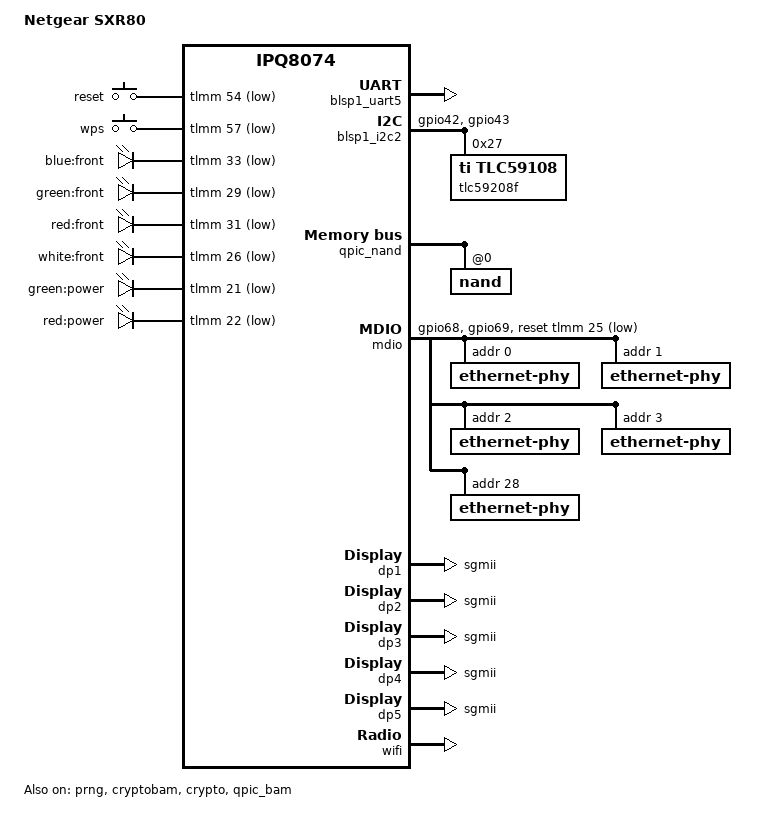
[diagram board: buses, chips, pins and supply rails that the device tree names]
// SPDX-License-Identifier: GPL-2.0-or-later OR MIT

/dts-v1/;

#include "ipq8074.dtsi"
#include "ipq8074-ac-cpu.dtsi"
#include <dt-bindings/gpio/gpio.h>
#include <dt-bindings/input/input.h>

/ {
	#address-cells = <2>;
	#size-cells = <2>;

	model = "Netgear SXR80";
	compatible = "netgear,sxr80", "qcom,ipq8074";
	interrupt-parent = <&intc>;

	aliases {
		serial0 = &blsp1_uart5;
		led-boot = &led_front_blue;
		led-failsafe = &led_front_red;
		led-running = &led_front_green;
		led-upgrade = &led_front_white;
		/* Aliases as required by u-boot to patch MAC addresses */
		ethernet0 = "/soc/dp1";
		ethernet1 = "/soc/dp2";
		ethernet2 = "/soc/dp3";
		ethernet3 = "/soc/dp4";
		ethernet6 = "/soc/dp5";
	};

	chosen {
		stdout-path = "serial0:115200n8";
		bootargs-append = " root=/dev/ubiblock0_1";
	};

	keys {
		compatible = "gpio-keys";

		reset {
			label = "reset";
			gpios = <&tlmm 54 GPIO_ACTIVE_LOW>;
			linux,code = <KEY_RESTART>;
		};

		wps {
			label = "wps";
			gpios = <&tlmm 57 GPIO_ACTIVE_LOW>;
			linux,code = <KEY_WPS_BUTTON>;
		};
	};

	leds {
		compatible = "gpio-leds";

		led_front_blue: front-blue {
			label = "blue:front";
			gpios = <&tlmm 33 GPIO_ACTIVE_LOW>;
		};

		led_front_green: front-green {
			label = "green:front";
			gpios = <&tlmm 29 GPIO_ACTIVE_LOW>;
		};

		led_front_red: front-red {
			label = "red:front";
			gpios = <&tlmm 31 GPIO_ACTIVE_LOW>;
		};

		led_front_white: front-white {
			label = "white:front";
			gpios = <&tlmm 26 GPIO_ACTIVE_LOW>;
		};

		led_power_green: power-green {
			label = "green:power";
			gpios = <&tlmm 21 GPIO_ACTIVE_LOW>;
			default-state = "on";
		};

		led_power_red: power-red {
			label = "red:power";
			gpios = <&tlmm 22 GPIO_ACTIVE_LOW>;
			panic-indicator;
		};

	};
};

&tlmm {
	mdio_pins: mdio-pins {
		mdc {
			pins = "gpio68";
			function = "mdc";
			drive-strength = <8>;
			bias-pull-up;
		};

		mdio {
			pins = "gpio69";
			function = "mdio";
			drive-strength = <8>;
			bias-pull-up;
		};
	};

	i2c_0_pins: i2c-0-pinmux {
		mux {
			pins = "gpio42", "gpio43";
			function = "blsp1_i2c";
			drive-strength = <8>;
			bias-disable;
		};
	};

	leds_pins: leds_pinmux {
		led_power_green {
			pins = "gpio21";
			function = "gpio";
			drive-strength = <8>;
			bias-pull-down;
		};
		led_power_red {
			pins = "gpio22";
			function = "gpio";
			drive-strength = <8>;
			bias-pull-down;
		};
		led_white {
			pins = "gpio26";
			function = "gpio";
			drive-strength = <8>;
			bias-pull-down;
		};
		led_green {
			pins = "gpio29";
			function = "gpio";
			drive-strength = <8>;
			bias-pull-down;
		};
		led_red {
			pins = "gpio31";
			function = "gpio";
			drive-strength = <8>;
			bias-pull-down;
		};
		led_blue {
			pins = "gpio33";
			function = "gpio";
			drive-strength = <8>;
			bias-pull-down;
		};
	};


};

&blsp1_uart5 {
	status = "okay";
};

&blsp1_i2c2 {
	pinctrl-0 = <&i2c_0_pins>;
	pinctrl-names = "default";

	status = "okay";
	
	tlc59208f@27 {
		#address-cells = <1>;
		#size-cells = <0>;
		compatible = "ti,tlc59108";
		reg = <0x27>;
		
		led0@0 {
			label = "orbi:led0:rgb";
			reg = <0x0>;
			linux,default_trigger = "default-on";
		};
		led1@1 {
			label = "orbi:led1:rgb";
			reg = <0x1>;
			linux,default_trigger = "default-on";
		};
		led2@2 {
			label = "orbi:led2:rgb";
			reg = <0x2>;
			linux,default_trigger = "default-on";
		};
		led3@3 {
			label = "orbi:led3:rgb";
			reg = <0x3>;
			linux,default_trigger = "default-on";

		};
	};
};

&prng {
	status = "okay";
};

&cryptobam {
	status = "okay";
};

&crypto {
	status = "okay";
};

&qpic_bam {
	status = "okay";
};

&qpic_nand {
	status = "okay";

	nand@0 {
		reg = <0>;
		nand-ecc-strength = <4>;
		nand-ecc-step-size = <512>;
		nand-bus-width = <8>;

		partitions {
			compatible = "qcom,smem-part";
		};
	};
};

&mdio {
	status = "okay";

	pinctrl-0 = <&mdio_pins>;
	pinctrl-names = "default";

	reset-gpios = <&tlmm 25 1>;

	ethernet-phy@0 {
		reg = <0>;
// Disabled to resolve multiple configured reset lines causing issues
//		reset-gpios = <&tlmm 37 0>;
	};

	ethernet-phy@1 {
		reg = <1>;
	};

	ethernet-phy@2 {
		reg = <2>;
	};

	ethernet-phy@3 {
		reg = <3>;
	};

	ethernet-phy@4 {
		reg = <28>;
// Disabled to resolve multiple configured reset lines causing issues
//		reset-gpios = <&tlmm 25 1>;
	};

};

&ess_switch {
	switch_cpu_bmp = <0x1>;  /* cpu port bitmap */
	switch_lan_bmp = <0x3e>; /* lan port bitmap */
	switch_wan_bmp = <0x40>; /* wan port bitmap */
	switch_mac_mode = <0x0>; /* mac mode for uniphy instance0*/
	switch_mac_mode1 = <0xff>; /* mac mode for uniphy instance1*/
	switch_mac_mode2 = <0xf>; /* mac mode for uniphy instance2*/
	bm_tick_mode = <0>; /* bm tick mode */
	tm_tick_mode = <0>; /* tm tick mode */
	qcom,port_phyinfo {
		port@0 {
			port_id = <1>;
			phy_address = <0>;
		};
		port@1 {
			port_id = <2>;
			phy_address = <1>;
		};
		port@2 {
			port_id = <3>;
			phy_address = <2>;
		};
		port@3 {
			port_id = <4>;
			phy_address = <3>;
		};
		port@5 {
			port_id = <6>;
			phy_address = <28>;
			port_mac_sel = "QGMAC_PORT";
		};
	};
	port_scheduler_resource {
		port@0 {
			port_id = <0>;
			ucast_queue = <0 143>;
			mcast_queue = <256 271>;
			l0sp = <0 35>;
			l0cdrr = <0 47>;
			l0edrr = <0 47>;
			l1cdrr = <0 7>;
			l1edrr = <0 7>;
		};
		port@1 {
			port_id = <1>;
			ucast_queue = <144 159>;
			mcast_queue = <272 275>;
			l0sp = <36 39>;
			l0cdrr = <48 63>;
			l0edrr = <48 63>;
			l1cdrr = <8 11>;
			l1edrr = <8 11>;
		};
		port@2 {
			port_id = <2>;
			ucast_queue = <160 175>;
			mcast_queue = <276 279>;
			l0sp = <40 43>;
			l0cdrr = <64 79>;
			l0edrr = <64 79>;
			l1cdrr = <12 15>;
			l1edrr = <12 15>;
		};
		port@3 {
			port_id = <3>;
			ucast_queue = <176 191>;
			mcast_queue = <280 283>;
			l0sp = <44 47>;
			l0cdrr = <80 95>;
			l0edrr = <80 95>;
			l1cdrr = <16 19>;
			l1edrr = <16 19>;
		};
		port@4 {
			port_id = <4>;
			ucast_queue = <192 207>;
			mcast_queue = <284 287>;
			l0sp = <48 51>;
			l0cdrr = <96 111>;
			l0edrr = <96 111>;
			l1cdrr = <20 23>;
			l1edrr = <20 23>;
		};
		port@5 {
			port_id = <5>;
			ucast_queue = <208 223>;
			mcast_queue = <288 291>;
			l0sp = <52 55>;
			l0cdrr = <112 127>;
			l0edrr = <112 127>;
			l1cdrr = <24 27>;
			l1edrr = <24 27>;
		};
		port@6 {
			port_id = <6>;
			ucast_queue = <224 239>;
			mcast_queue = <292 295>;
			l0sp = <56 59>;
			l0cdrr = <128 143>;
			l0edrr = <128 143>;
			l1cdrr = <28 31>;
			l1edrr = <28 31>;
		};
		port@7 {
			port_id = <7>;
			ucast_queue = <240 255>;
			mcast_queue = <296 299>;
			l0sp = <60 63>;
			l0cdrr = <144 159>;
			l0edrr = <144 159>;
			l1cdrr = <32 35>;
			l1edrr = <32 35>;
		};
	};
	port_scheduler_config {
		port@0 {
			port_id = <0>;
			l1scheduler {
				group@0 {
					sp = <0 1>; /*L0 SPs*/
					/*cpri cdrr epri edrr*/
					cfg = <0 0 0 0>;
				};
			};
			l0scheduler {
				group@0 {
					/*unicast queues*/
					ucast_queue = <0 4 8>;
					/*multicast queues*/
					mcast_queue = <256 260>;
					/*sp cpri cdrr epri edrr*/
					cfg = <0 0 0 0 0>;
				};
				group@1 {
					ucast_queue = <1 5 9>;
					mcast_queue = <257 261>;
					cfg = <0 1 1 1 1>;
				};
				group@2 {
					ucast_queue = <2 6 10>;
					mcast_queue = <258 262>;
					cfg = <0 2 2 2 2>;
				};
				group@3 {
					ucast_queue = <3 7 11>;
					mcast_queue = <259 263>;
					cfg = <0 3 3 3 3>;
				};
			};
		};
		port@1 {
			port_id = <1>;
			l1scheduler {
				group@0 {
					sp = <36>;
					cfg = <0 8 0 8>;
				};
				group@1 {
					sp = <37>;
					cfg = <1 9 1 9>;
				};
			};
			l0scheduler {
				group@0 {
					ucast_queue = <144>;
					ucast_loop_pri = <16>;
					mcast_queue = <272>;
					mcast_loop_pri = <4>;
					cfg = <36 0 48 0 48>;
				};
			};
		};
		port@2 {
			port_id = <2>;
			l1scheduler {
				group@0 {
					sp = <40>;
					cfg = <0 12 0 12>;
				};
				group@1 {
					sp = <41>;
					cfg = <1 13 1 13>;
				};
			};
			l0scheduler {
				group@0 {
					ucast_queue = <160>;
					ucast_loop_pri = <16>;
					mcast_queue = <276>;
					mcast_loop_pri = <4>;
					cfg = <40 0 64 0 64>;
				};
			};
		};
		port@3 {
			port_id = <3>;
			l1scheduler {
				group@0 {
					sp = <44>;
					cfg = <0 16 0 16>;
				};
				group@1 {
					sp = <45>;
					cfg = <1 17 1 17>;
				};
			};
			l0scheduler {
				group@0 {
					ucast_queue = <176>;
					ucast_loop_pri = <16>;
					mcast_queue = <280>;
					mcast_loop_pri = <4>;
					cfg = <44 0 80 0 80>;
				};
			};
		};
		port@4 {
			port_id = <4>;
			l1scheduler {
				group@0 {
					sp = <48>;
					cfg = <0 20 0 20>;
				};
				group@1 {
					sp = <49>;
					cfg = <1 21 1 21>;
				};
			};
			l0scheduler {
				group@0 {
					ucast_queue = <192>;
					ucast_loop_pri = <16>;
					mcast_queue = <284>;
					mcast_loop_pri = <4>;
					cfg = <48 0 96 0 96>;
				};
			};
		};
		port@5 {
			port_id = <5>;
			l1scheduler {
				group@0 {
					sp = <52>;
					cfg = <0 24 0 24>;
				};
				group@1 {
					sp = <53>;
					cfg = <1 25 1 25>;
				};
			};
			l0scheduler {
				group@0 {
					ucast_queue = <208>;
					ucast_loop_pri = <16>;
					mcast_queue = <288>;
					mcast_loop_pri = <4>;
					cfg = <52 0 112 0 112>;
				};
			};
		};
		port@6 {
			port_id = <6>;
			l1scheduler {
				group@0 {
					sp = <56>;
					cfg = <0 28 0 28>;
				};
				group@1 {
					sp = <57>;
					cfg = <1 29 1 29>;
				};
			};
			l0scheduler {
				group@0 {
					ucast_queue = <224>;
					ucast_loop_pri = <16>;
					mcast_queue = <292>;
					mcast_loop_pri = <4>;
					cfg = <56 0 128 0 128>;
				};
			};
		};
		port@7 {
			port_id = <7>;
			l1scheduler {
				group@0 {
					sp = <60>;
					cfg = <0 32 0 32>;
				};
				group@1 {
					sp = <61>;
					cfg = <1 33 1 33>;
				};
			};
			l0scheduler {
				group@0 {
					ucast_queue = <240>;
					ucast_loop_pri = <16>;
					mcast_queue = <296>;
					cfg = <60 0 144 0 144>;
				};
			};
		};
	};
};

&soc {
	dp1: dp1 {
		device_type = "network";
		compatible = "qcom,nss-dp";
		qcom,id = <1>;
		reg = <0x3a001000 0x200>;
		qcom,mactype = <0>;
		local-mac-address = [000000000000];
		qcom,link-poll = <1>;
		qcom,phy-mdio-addr = <0>;
		phy-mode = "sgmii";
		mdio-bus = <&mdio>;
	};

	dp2: dp2 {
		device_type = "network";
		compatible = "qcom,nss-dp";
		qcom,id = <2>;
		reg = <0x3a001200 0x200>;
		qcom,mactype = <0>;
		local-mac-address = [000000000000];
		qcom,link-poll = <1>;
		qcom,phy-mdio-addr = <1>;
		phy-mode = "sgmii";
		mdio-bus = <&mdio>;
	};

	dp3: dp3 {
		device_type = "network";
		compatible = "qcom,nss-dp";
		qcom,id = <3>;
		reg = <0x3a001400 0x200>;
		qcom,mactype = <0>;
		local-mac-address = [000000000000];
		qcom,link-poll = <1>;
		qcom,phy-mdio-addr = <2>;
		phy-mode = "sgmii";
		mdio-bus = <&mdio>;
	};

	dp4: dp4 {
		device_type = "network";
		compatible = "qcom,nss-dp";
		qcom,id = <4>;
		reg = <0x3a001600 0x200>;
		qcom,mactype = <0>;
		local-mac-address = [000000000000];
		qcom,link-poll = <1>;
		qcom,phy-mdio-addr = <3>;
		phy-mode = "sgmii";
		mdio-bus = <&mdio>;
	};

	dp5: dp5 {
		device_type = "network";
		compatible = "qcom,nss-dp";
		qcom,id = <5>;
		reg = <0x3a001800 0x200>;
		qcom,mactype = <0>;
		local-mac-address = [000000000000];
		qcom,link-poll = <1>;
		qcom,phy-mdio-addr = <28>;
		phy-mode = "sgmii";
		mdio-bus = <&mdio>;
	};

};

&wifi {
	status = "okay";

	qcom,ath11k-calibration-variant = "Netgear-SXR80";
};

